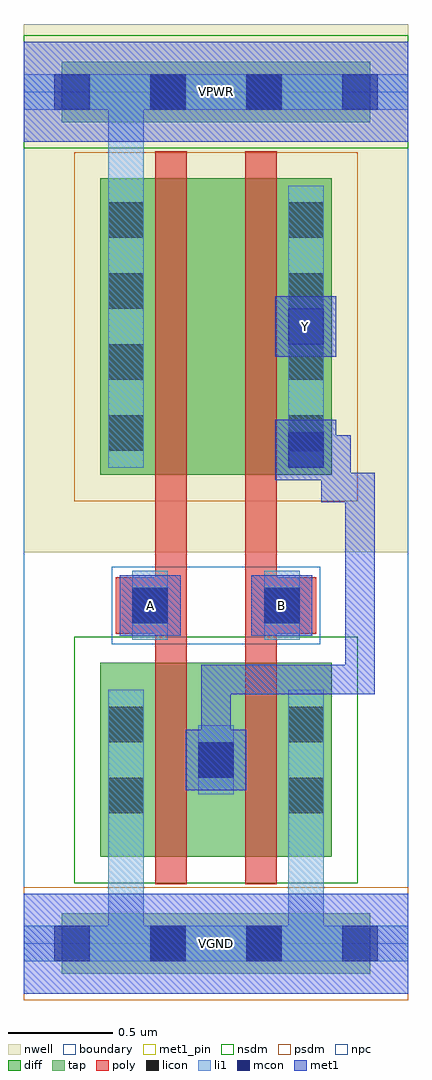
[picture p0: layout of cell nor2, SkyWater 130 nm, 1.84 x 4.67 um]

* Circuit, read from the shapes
.subckt nor2 A B VGND VPWR Y
XM1 Y A VGND VGND sky130_fd_pr__nfet_01v8 w=0.93 l=0.15
XM2 VGND B Y VGND sky130_fd_pr__nfet_01v8 w=0.93 l=0.15
XM3 n1 A VPWR VPWR sky130_fd_pr__pfet_01v8 w=1.42 l=0.15
XM4 Y B n1 VPWR sky130_fd_pr__pfet_01v8 w=1.42 l=0.15
.ends

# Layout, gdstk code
import gdstk
lib = gdstk.Library(unit=1e-6, precision=1e-09)
def R(c, l, rs):  # rectangles x0, y0, x1, y1
    for r in rs: c.add(gdstk.rectangle(r[:2], r[2:], *l))
def A(c, l, x, y, w, h, nx, ny, dx, dy):  # array of equal rectangles
    R(c, l, [(x+i*dx, y+j*dy, x+i*dx+w, y+j*dy+h) for i in range(nx) for j in range(ny)])
nwell = (64, 20)
diff = (65, 20)
tap = (65, 44)
poly = (66, 20)
licon = (66, 44)
li1 = (67, 20)
mcon = (67, 44)
met1_pin = (68, 16)
met1 = (68, 20)
nsdm = (93, 44)
psdm = (94, 20)
npc = (95, 20)
boundary = (235, 4)

nor2 = lib.new_cell('nor2')
R(nor2, nwell, [(0,1.875,1.84,4.405)])
R(nor2, diff, [(0.365,0.415,1.475,1.345), (0.365,2.245,1.475,3.665)])
R(nor2, tap, [(0.18,-0.145,1.66,0.145), (0.18,3.935,1.66,4.225)])
R(nor2, poly, [(0.63,0.285,0.78,3.795), (1.06,0.285,1.21,3.795), (0.44,1.485,0.77,1.755), (1.07,1.485,1.4,1.755)])
A(nor2, licon, 0.405, 2.36, 0.17, 0.17, 1, 4, 0, 0.34)
A(nor2, licon, 1.265, 2.36, 0.17, 0.17, 1, 4, 0, 0.34)
R(nor2, licon, [(0.605,-0.085,0.775,0.085), (1.065,-0.085,1.235,0.085), (0.405,0.625,0.575,0.795), (1.265,0.625,1.435,0.795), (0.835,0.795,1.005,0.965), (0.405,0.965,0.575,1.135), (1.265,0.965,1.435,1.135), (0.52,1.535,0.69,1.705), (1.15,1.535,1.32,1.705), (0.605,3.995,0.775,4.165), (1.065,3.995,1.235,4.165)])
R(nor2, li1, [(0,-0.085,1.84,0.085), (0.405,-0.085,0.575,1.215), (1.265,-0.085,1.435,1.215), (0.405,0.545,0.575,1.215), (1.265,0.545,1.435,1.215), (0.835,0.715,1.005,1.045), (0.52,1.455,0.69,1.785), (1.15,1.455,1.32,1.785), (0.405,2.28,0.575,3.63), (0.405,2.28,0.575,4.165), (1.265,2.28,1.435,3.63), (0,3.995,1.84,4.165)])
A(nor2, mcon, 0.145, -0.085, 0.17, 0.17, 4, 2, 0.46, 4.08)
R(nor2, mcon, [(0.835,0.795,1.005,0.965), (0.52,1.535,0.69,1.705), (1.15,1.535,1.32,1.705), (1.265,2.28,1.435,2.45), (1.265,2.87,1.435,3.04)])
R(nor2, met1_pin, [(0,-0.24,1.84,0.24), (0.46,1.475,0.75,1.765), (1.09,1.475,1.38,1.765), (1.205,2.81,1.495,3.1), (0,3.84,1.84,4.32)])
R(nor2, met1, [(0,-0.24,1.84,0.24), (0.775,0.735,1.065,1.025), (0.85,0.85,0.99,0.99), (0.85,0.85,0.99,1.335), (0.85,1.195,1.68,1.335), (1.54,1.195,1.68,2.255), (0.46,1.475,0.75,1.765), (1.09,1.475,1.38,1.765), (1.425,2.115,1.565,2.435), (1.425,2.115,1.68,2.255), (1.205,2.22,1.495,2.51), (1.495,2.22,1.54,2.255), (1.495,2.22,1.54,2.255), (1.495,2.22,1.54,2.255), (1.495,2.22,1.54,2.255), (1.495,2.22,1.54,2.255), (1.495,2.22,1.54,2.255), (1.425,2.255,1.565,2.295), (1.425,2.255,1.565,2.295), (1.425,2.255,1.565,2.295), (1.425,2.255,1.565,2.295), (1.425,2.255,1.565,2.295), (1.425,2.255,1.565,2.295), (1.495,2.255,1.54,2.295), (1.495,2.255,1.54,2.295), (1.495,2.255,1.54,2.295), (1.495,2.255,1.54,2.295), (1.495,2.255,1.54,2.295), (1.495,2.255,1.54,2.295), (1.495,2.255,1.54,2.295), (1.495,2.255,1.54,2.295), (1.495,2.255,1.54,2.295), (1.495,2.255,1.54,2.295), (1.495,2.255,1.54,2.295), (1.495,2.255,1.54,2.295), (1.495,2.255,1.54,2.295), (1.495,2.255,1.54,2.295), (1.495,2.255,1.54,2.295), (1.495,2.255,1.54,2.295), (1.495,2.255,1.54,2.295), (1.495,2.255,1.54,2.295), (1.495,2.255,1.54,2.295), (1.495,2.255,1.54,2.295), (1.495,2.255,1.54,2.295), (1.495,2.255,1.54,2.295), (1.495,2.255,1.54,2.295), (1.495,2.255,1.54,2.295), (1.54,2.255,1.565,2.295), (1.54,2.255,1.565,2.295), (1.54,2.255,1.565,2.295), (1.54,2.255,1.565,2.295), (1.54,2.255,1.565,2.295), (1.54,2.255,1.565,2.295), (1.28,2.295,1.565,2.435), (1.205,2.81,1.495,3.1), (0,3.84,1.84,4.32)])
R(nor2, nsdm, [(0.24,0.29,1.6,1.47), (0,3.81,1.84,4.35)])
R(nor2, psdm, [(0,-0.27,1.84,0.27), (0.24,2.12,1.6,3.79)])
R(nor2, npc, [(0.42,1.435,1.42,1.805)])
R(nor2, boundary, [(0,0,1.84,4.08)])
nor2.add(gdstk.Label('A', (0.605,1.62), layer=68, texttype=5))
nor2.add(gdstk.Label('B', (1.235,1.62), layer=68, texttype=5))
nor2.add(gdstk.Label('Y', (1.35,2.955), layer=68, texttype=5))
nor2.add(gdstk.Label('VPWR', (0.92,4.08), layer=68, texttype=5))
nor2.add(gdstk.Label('VGND', (0.92,0), layer=68, texttype=5))
nor2.add(gdstk.Label('A', (0.605,1.62), layer=68, texttype=16))
nor2.add(gdstk.Label('B', (1.235,1.62), layer=68, texttype=16))
nor2.add(gdstk.Label('Y', (1.35,2.955), layer=68, texttype=16))
nor2.add(gdstk.Label('VPWR', (0.92,4.08), layer=68, texttype=16))
nor2.add(gdstk.Label('VGND', (0.92,0), layer=68, texttype=16))

lib.write_gds('nor2.gds')
